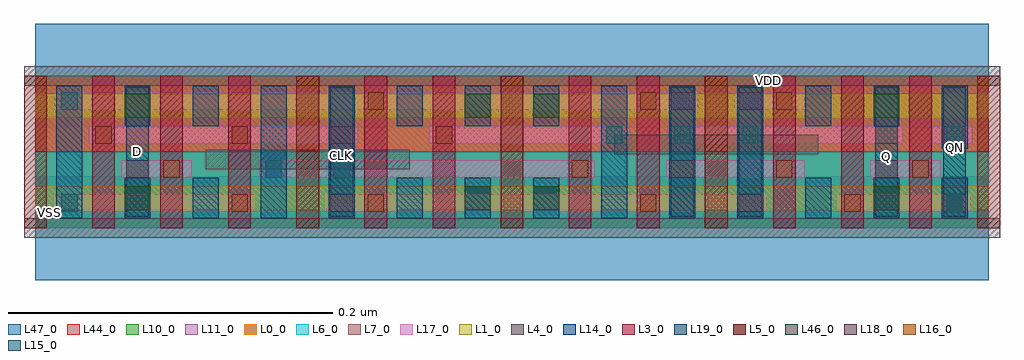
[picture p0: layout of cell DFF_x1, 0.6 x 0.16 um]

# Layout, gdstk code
import gdstk
lib = gdstk.Library(unit=1e-6, precision=5e-10)
def R(c, l, rs):  # rectangles x0, y0, x1, y1
    for r in rs: c.add(gdstk.rectangle(r[:2], r[2:], *l))
def A(c, l, x, y, w, h, nx, ny, dx, dy):  # array of equal rectangles
    R(c, l, [(x+i*dx, y+j*dy, x+i*dx+w, y+j*dy+h) for i in range(nx) for j in range(ny)])
L0_0 = (0, 0)
L1_0 = (1, 0)
L3_0 = (3, 0)
L4_0 = (4, 0)
L5_0 = (5, 0)
L6_0 = (6, 0)
L7_0 = (7, 0)
L10_0 = (10, 0)
L11_0 = (11, 0)
L14_0 = (14, 0)
L15_0 = (15, 0)
L16_0 = (16, 0)
L17_0 = (17, 0)
L18_0 = (18, 0)
L19_0 = (19, 0)
L44_0 = (44, 0)
L46_0 = (46, 0)
L47_0 = (47, 0)

dff_x1 = lib.new_cell('DFF_x1')
R(dff_x1, L0_0, [(0,0.047,0.588,0.094)])
R(dff_x1, L1_0, [(0,0.011,0.588,0.026), (0,0.068,0.588,0.083)])
A(dff_x1, L3_0, 0.035, 0, 0.014, 0.094, 3, 1, 0.042, 0)
A(dff_x1, L3_0, 0.455, 0, 0.014, 0.094, 3, 1, 0.042, 0)
R(dff_x1, L3_0, [(0.203,0,0.217,0.094), (0.245,0,0.259,0.094), (0.329,0,0.343,0.094), (0.371,0,0.385,0.094)])
R(dff_x1, L4_0, [(-0.007,-0.006,0.595,0.006), (0.105,0.0365,0.231,0.0485), (0.357,0.0455,0.483,0.0575), (-0.007,0.088,0.595,0.1)])
A(dff_x1, L5_0, 0.161, 0, 0.014, 0.094, 3, 1, 0.126, 0)
R(dff_x1, L5_0, [(-0.007,0,0.007,0.094), (0.581,0,0.595,0.094)])
R(dff_x1, L6_0, [(0,0,0.588,0.047)])
R(dff_x1, L7_0, [(0,0.047,0.588,0.094)])
R(dff_x1, L10_0, [(0,0,0.588,0.047)])
R(dff_x1, L11_0, [(0,0.047,0.588,0.094)])
A(dff_x1, L14_0, 0.223, 0.006, 0.016, 0.025, 3, 2, 0.042, 0.057)
A(dff_x1, L14_0, 0.349, 0.006, 0.016, 0.082, 3, 1, 0.042, 0)
A(dff_x1, L14_0, 0.475, 0.006, 0.016, 0.025, 3, 1, 0.042, 0)
R(dff_x1, L14_0, [(0.013,0.006,0.029,0.088), (0.055,0.006,0.071,0.031), (0.097,0.006,0.113,0.031), (0.139,0.006,0.155,0.088), (0.181,0.006,0.197,0.088), (0.559,0.049,0.575,0.088), (0.055,0.063,0.071,0.088), (0.097,0.063,0.113,0.088), (0.475,0.063,0.491,0.088), (0.517,0.063,0.533,0.088)])
A(dff_x1, L15_0, 0.352, 0.052, 0.01, 0.011, 3, 1, 0.042, 0)
R(dff_x1, L15_0, [(0.016,0.01,0.026,0.021), (0.562,0.01,0.572,0.021), (0.142,0.031,0.152,0.042), (0.184,0.031,0.194,0.042), (0.562,0.052,0.572,0.063), (0.016,0.073,0.026,0.084)])
R(dff_x1, L16_0, [(0.121,0.01,0.131,0.021), (0.205,0.01,0.215,0.021), (0.373,0.01,0.383,0.021), (0.499,0.01,0.509,0.021), (0.079,0.031,0.089,0.042), (0.331,0.031,0.341,0.042), (0.457,0.031,0.467,0.042), (0.541,0.031,0.551,0.042), (0.037,0.052,0.047,0.063), (0.121,0.052,0.131,0.063), (0.247,0.052,0.257,0.063), (0.205,0.073,0.215,0.084), (0.373,0.073,0.383,0.084), (0.457,0.073,0.467,0.084)])
R(dff_x1, L17_0, [(0.012,0.01,0.135,0.021), (0.179,0.01,0.451,0.021), (0.495,0.01,0.577,0.021), (0.053,0.031,0.0965,0.042), (0.138,0.031,0.345,0.042), (0.389,0.031,0.4745,0.042), (0.515,0.031,0.5585,0.042), (0.033,0.052,0.199,0.063), (0.243,0.052,0.366,0.063), (0.39,0.052,0.535,0.063), (0.553,0.052,0.578,0.063), (0.012,0.073,0.409,0.084), (0.431,0.073,0.4745,0.084)])
R(dff_x1, L18_0, [(0.182,0.01,0.196,0.021), (0.434,0.01,0.448,0.021), (0.56,0.01,0.574,0.021), (0.056,0.031,0.07,0.042), (0.392,0.031,0.406,0.042), (0.518,0.031,0.532,0.042), (0.182,0.052,0.196,0.063), (0.182,0.052,0.196,0.063), (0.518,0.052,0.532,0.063), (0.56,0.052,0.574,0.063), (0.392,0.073,0.406,0.084), (0.434,0.073,0.448,0.084)])
R(dff_x1, L19_0, [(0.056,0.007,0.07,0.087), (0.182,0.007,0.196,0.087), (0.182,0.007,0.196,0.087), (0.392,0.007,0.406,0.087), (0.434,0.007,0.448,0.087), (0.518,0.007,0.532,0.087), (0.56,0.007,0.574,0.087)])
R(dff_x1, L44_0, [(0,0,0.588,0.094)])
R(dff_x1, L46_0, [(0.055,0.011,0.071,0.026), (0.265,0.011,0.281,0.026), (0.307,0.011,0.323,0.026), (0.517,0.011,0.533,0.026), (0.055,0.068,0.071,0.083), (0.265,0.068,0.281,0.083), (0.307,0.068,0.323,0.083), (0.517,0.068,0.533,0.083)])
R(dff_x1, L47_0, [(0,-0.032,0.588,0.032), (0,0.062,0.588,0.126)])
dff_x1.add(gdstk.Label('VDD', (0.452,0.091), layer=0, texttype=2))
dff_x1.add(gdstk.Label('QN', (0.567,0.05), layer=19, texttype=2))
dff_x1.add(gdstk.Label('Q', (0.525,0.044), layer=19, texttype=2))
dff_x1.add(gdstk.Label('CLK', (0.189,0.045), layer=19, texttype=2))
dff_x1.add(gdstk.Label('D', (0.063,0.047), layer=19, texttype=2))
dff_x1.add(gdstk.Label('VDD', (0.453,0.084), layer=47, texttype=2))
dff_x1.add(gdstk.Label('VSS', (0.009,0.0095), layer=47, texttype=2))
dff_x1.add(gdstk.Label('VSS', (0.01,0.002), layer=54, texttype=2))

lib.write_gds('DFF_x1.gds')
